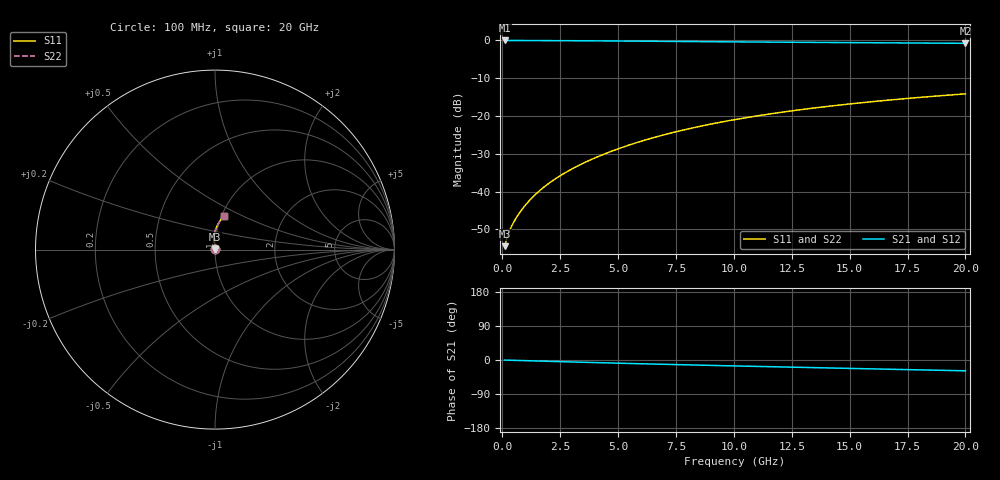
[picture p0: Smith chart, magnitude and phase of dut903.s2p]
! Touchstone file exported from HFSS 2024.1.0
!  File:  C:/UserFiles/LocalFiles/RDL_TSV_Batchsim/temp_RDL_bottom_903_1779940105.aedt
!  Generated:  11:50:46 AM May 28, 2026
!  Design:  RDL_bottom
!  Project:  temp_RDL_bottom_903_1779940105
!  Setup:  Setup1
!  Solution:  Sweep
! Variables:
!  dtsv = 10.80580581um
!  hbump = 3um
!  htsv = 53.18um
!  ldown = 469.41um
!  lrdl = 100um
!  p = 40
!  p1 = 42.21um
!  rhole = 1um
!  t = 450um
!  tdown = 4.14um
!  trdl = 3.915915916um
!  wdown = 27.72um
!  wrdl = 20um
# GHz S MA R 50.000000
! Terminal data exported
! Port[1] = RDL1_T1
! Port[2] = RDL1_T2
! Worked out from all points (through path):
!   200 points, 100 MHz to 20 GHz, reference 50 ohm
!   highest |S21| = -0.01 dB at 100 MHz (marker M1); lowest = -0.8 dB at 20 GHz (marker M2)
!   group delay of S21, straight-line fit = 3.89 ps
!   lowest |S11| = -54.4 dB at 100 MHz (marker M3), VSWR 1.00, Z = 50.2 + j0.0852 ohm
!   |S11| at or under -10 dB: start of sweep to end of sweep
!   |S22| runs from -54.4 to -14.2 dB; largest |S21 - S12| = 4.4e-15
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0.1  0.001896 26.6  0.9983 -0.2  0.9983 -0.2  0.001896 26.6
! Gamma 0 0 0 0
! Port Impedance 50 0 50 0
0.2  0.002435 40.4  0.9981 -0.4  0.9981 -0.4  0.002435 40.4
0.3  0.00297 48.1  0.9979 -0.6  0.9979 -0.6  0.00297 48.1
0.4  0.003477 53.6  0.9977 -0.7  0.9977 -0.7  0.003478 53.6
0.5  0.003977 58.1  0.9976 -0.9  0.9976 -0.9  0.003978 58.1
0.8  0.005535 68.2  0.9972 -1.4  0.9972 -1.4  0.005535 68.2
1  0.006639 72.9  0.9969 -1.8  0.9969 -1.8  0.006639 72.9
1.2  0.00779 76.6  0.9965 -2.1  0.9965 -2.1  0.007791 76.6
1.7  0.01085 83.1  0.9953 -3.0  0.9953 -3.0  0.01085 83.0
2.2  0.01413 87.3  0.9939 -3.9  0.9939 -3.9  0.01413 87.3
2.8  0.01838 90.7  0.9918 -4.9  0.9918 -4.9  0.01838 90.7
3.5  0.02376 93.4  0.9889 -6.0  0.9889 -6.0  0.02376 93.3
4.2  0.0296 95.0  0.9856 -7.2  0.9856 -7.2  0.02959 94.9
5  0.03677 95.9  0.9816 -8.4  0.9816 -8.4  0.03675 95.9
5.9  0.04539 96.1  0.9769 -9.8  0.9769 -9.8  0.04538 96.1
6.8  0.0545 95.7  0.9722 -11.1  0.9722 -11.1  0.05448 95.7
8.4  0.07152 94.0  0.964 -13.4  0.964 -13.4  0.07148 94.0
10.1  0.09024 91.5  0.9557 -15.7  0.9557 -15.7  0.09019 91.5
11.7  0.108 88.8  0.9484 -17.9  0.9484 -17.9  0.108 88.8
13.4  0.1269 85.8  0.9411 -20.1  0.9411 -20.1  0.1268 85.8
16.7  0.1624 80.1  0.9279 -24.4  0.9279 -24.4  0.1623 80.0
20  0.1962 74.6  0.9154 -28.5  0.9154 -28.5  0.1961 74.5
